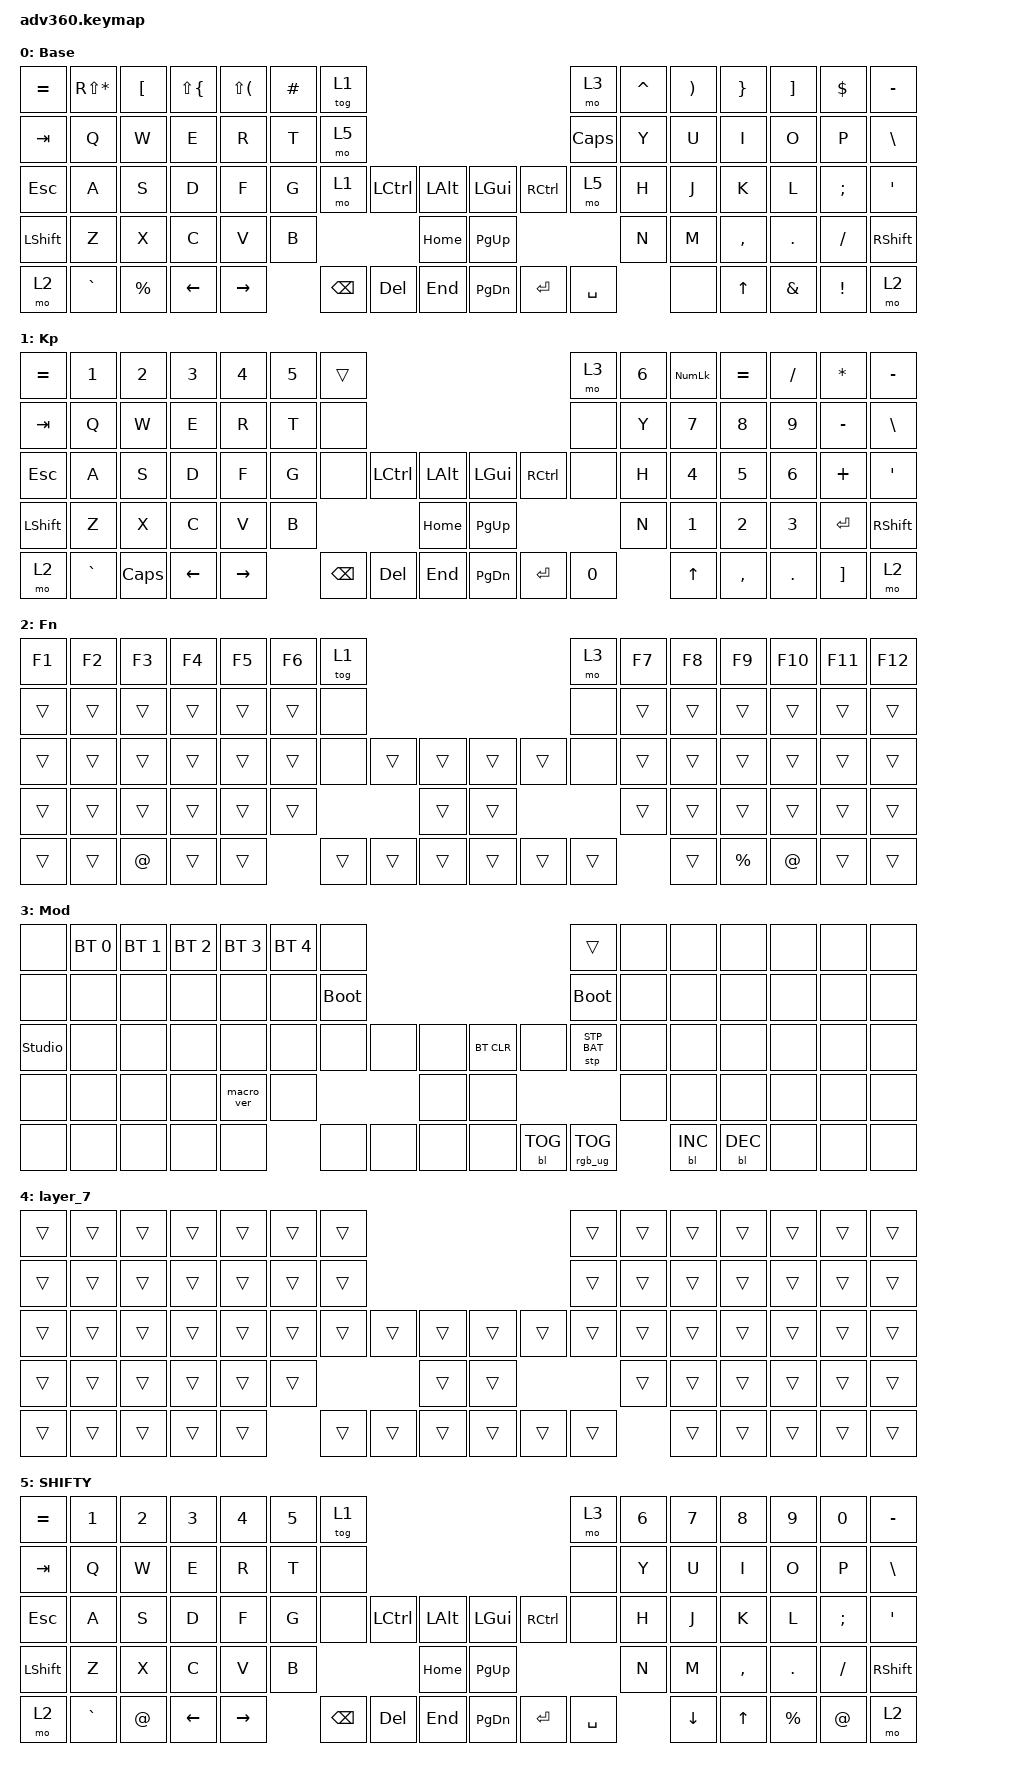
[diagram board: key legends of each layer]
#include <dt-bindings/zmk/stp.h>
#include <behaviors.dtsi>
#include <dt-bindings/zmk/backlight.h>
#include <dt-bindings/zmk/bt.h>
#include <dt-bindings/zmk/keys.h>
#include <dt-bindings/zmk/rgb.h>

/ {
    behaviors {
        #include "macros.dtsi"
      #include "version.dtsi"

        hm: homerow_mods {
            compatible = "zmk,behavior-hold-tap";
            label = "HOMEROW_MODS";
            #binding-cells = <2>;
            tapping-term-ms = <200>;
            quick_tap_ms = <175>;
            flavor = "tap-preferred";
            bindings = <&kp>, <&kp>;
        };
    };

    combos {
        compatible = "zmk,combos";

        at {
            bindings = <&kp AT_SIGN>;
            key-positions = <59 62>;
        };

        at_right {
            bindings = <&kp AT_SIGN>;
            key-positions = <59 74>;
        };

        percent {
            bindings = <&kp PERCENT>;
            key-positions = <59 73>;
        };

        one {
            bindings = <&kp NUMBER_1>;
            key-positions = <59 1>;
        };

        two {
            bindings = <&kp NUMBER_2>;
            key-positions = <59 2>;
        };

        three {
            bindings = <&kp NUMBER_3>;
            key-positions = <59 3>;
        };

        four {
            bindings = <&kp NUMBER_4>;
            key-positions = <59 4>;
        };

        five {
            bindings = <&kp N5>;
            key-positions = <59 5>;
        };

        six {
            bindings = <&kp NUMBER_6>;
            key-positions = <46 8>;
        };

        seven {
            bindings = <&kp N7>;
            key-positions = <46 9>;
        };

        eight {
            bindings = <&kp N8>;
            key-positions = <46 10>;
        };

        nine {
            bindings = <&kp N9>;
            key-positions = <46 11>;
        };

        zero {
            bindings = <&kp N0>;
            key-positions = <46 12>;
        };
    };

    keymap {
        compatible = "zmk,keymap";

        default_layer {
            display-name = "Base";
            bindings = <
&kp EQUAL       &kp RS(ASTERISK)  &kp LEFT_BRACKET  &kp LS(LEFT_BRACE)  &kp LS(LEFT_PARENTHESIS)  &kp HASH  &tog 1                                                   &mo 3         &kp CARET  &kp RIGHT_PARENTHESIS  &kp RIGHT_BRACE  &kp RIGHT_BRACKET  &kp DOLLAR       &kp MINUS
&kp TAB         &kp Q             &kp W             &kp E               &kp R                     &kp T     &mo 5                                                    &kp CAPSLOCK  &kp Y      &kp U                  &kp I            &kp O              &kp P            &kp BSLH
&kp ESC         &kp A             &kp S             &kp D               &kp F                     &kp G     &mo 1     &kp LCTRL  &kp LALT      &kp LGUI   &kp RCTRL  &mo 5         &kp H      &kp J                  &kp K            &kp L              &kp SEMI         &kp SQT
&kp LEFT_SHIFT  &kp Z             &kp X             &kp C               &kp V                     &kp B                          &kp HOME      &kp PG_UP                           &kp N      &kp M                  &kp COMMA        &kp DOT            &kp FSLH         &kp RIGHT_SHIFT
&mo 2           &kp GRAVE         &kp PERCENT       &kp LEFT            &kp RIGHT                           &kp BSPC  &kp DEL    &kp END       &kp PG_DN  &kp ENTER  &kp SPACE                &none                  &kp UP_ARROW     &kp AMPERSAND      &kp EXCLAMATION  &mo 2
            >;
        };

        keypad {
            display-name = "Kp";
            bindings = <
&kp EQUAL  &kp N1     &kp N2    &kp N3    &kp N4     &kp N5  &trans                                                   &mo 3         &kp N6  &kp KP_NUM    &kp EQUAL     &kp SLASH     &kp ASTRK  &kp MINUS
&kp TAB    &kp Q      &kp W     &kp E     &kp R      &kp T   &none                                                    &none         &kp Y   &kp N7        &kp N8        &kp N9        &kp MINUS  &kp BSLH
&kp ESC    &kp A      &kp S     &kp D     &kp F      &kp G   &none     &kp LCTRL  &kp LALT      &kp LGUI   &kp RCTRL  &none         &kp H   &kp NUMBER_4  &kp N5        &kp NUMBER_6  &kp PLUS   &kp SQT
&kp LSHFT  &kp Z      &kp X     &kp C     &kp V      &kp B                        &kp HOME      &kp PG_UP                           &kp N   &kp NUMBER_1  &kp NUMBER_2  &kp NUMBER_3  &kp ENTER  &kp RSHFT
&mo 2      &kp GRAVE  &kp CAPS  &kp LEFT  &kp RIGHT          &kp BSPC  &kp DEL    &kp END       &kp PG_DN  &kp ENTER  &kp NUMBER_0          &kp UP        &kp COMMA     &kp PERIOD    &kp RBKT   &mo 2
            >;
        };

        fn {
            display-name = "Fn";
            bindings = <
&kp F1  &kp F2  &kp F3       &kp F4  &kp F5  &kp F6  &tog 1                                      &mo 3   &kp F7  &kp F8  &kp F9       &kp F10      &kp F11  &kp F12
&trans  &trans  &trans       &trans  &trans  &trans  &none                                       &none   &trans  &trans  &trans       &trans       &trans   &trans
&trans  &trans  &trans       &trans  &trans  &trans  &none   &trans  &trans      &trans  &trans  &none   &trans  &trans  &trans       &trans       &trans   &trans
&trans  &trans  &trans       &trans  &trans  &trans                  &trans      &trans                  &trans  &trans  &trans       &trans       &trans   &trans
&trans  &trans  &kp AT_SIGN  &trans  &trans          &trans  &trans  &trans      &trans  &trans  &trans          &trans  &kp PERCENT  &kp AT_SIGN  &trans   &trans
            >;
        };

        mod {
            display-name = "Mod";
            bindings = <
&none           &bt BT_SEL 0  &bt BT_SEL 1  &bt BT_SEL 2  &bt BT_SEL 3  &bt BT_SEL 4  &none                                                  &trans           &none  &none       &none       &none  &none  &none
&none           &none         &none         &none         &none         &none         &bootloader                                            &bootloader      &none  &none       &none       &none  &none  &none
&studio_unlock  &none         &none         &none         &none         &none         &none        &none  &none      &bt BT_CLR  &none       &stp STP_BAT     &none  &none       &none       &none  &none  &none
&none           &none         &none         &none         &macro_ver    &none                             &none      &none                                    &none  &none       &none       &none  &none  &none
&none           &none         &none         &none         &none                       &none        &none  &none      &none       &bl BL_TOG  &rgb_ug RGB_TOG         &bl BL_INC  &bl BL_DEC  &none  &none  &none
            >;
        };

        layer_7 {
            bindings = <
&trans  &trans  &trans  &trans  &trans  &trans  &trans                                      &trans  &trans  &trans  &trans  &trans  &trans  &trans
&trans  &trans  &trans  &trans  &trans  &trans  &trans                                      &trans  &trans  &trans  &trans  &trans  &trans  &trans
&trans  &trans  &trans  &trans  &trans  &trans  &trans  &trans  &trans      &trans  &trans  &trans  &trans  &trans  &trans  &trans  &trans  &trans
&trans  &trans  &trans  &trans  &trans  &trans                  &trans      &trans                  &trans  &trans  &trans  &trans  &trans  &trans
&trans  &trans  &trans  &trans  &trans          &trans  &trans  &trans      &trans  &trans  &trans          &trans  &trans  &trans  &trans  &trans
            >;
        };

        shift {
            display-name = "SHIFTY";
            bindings = <
&kp EQUAL  &kp NUMBER_1  &kp NUMBER_2  &kp NUMBER_3  &kp NUMBER_4  &kp N5  &tog 1                                                   &mo 3      &kp NUMBER_6  &kp N7    &kp N8        &kp N9       &kp N0       &kp MINUS
&kp TAB    &kp Q         &kp W         &kp E         &kp R         &kp T   &none                                                    &none      &kp Y         &kp U     &kp I         &kp O        &kp P        &kp BSLH
&kp ESC    &kp A         &kp S         &kp D         &kp F         &kp G   &none     &kp LCTRL  &kp LALT      &kp LGUI   &kp RCTRL  &none      &kp H         &kp J     &kp K         &kp L        &kp SEMI     &kp SQT
&kp LSHFT  &kp Z         &kp X         &kp C         &kp V         &kp B                        &kp HOME      &kp PG_UP                        &kp N         &kp M     &kp COMMA     &kp DOT      &kp FSLH     &kp RSHFT
&mo 2      &kp GRAVE     &kp AT_SIGN   &kp LEFT      &kp RIGHT             &kp BSPC  &kp DEL    &kp END       &kp PG_DN  &kp ENTER  &kp SPACE                &kp DOWN  &kp UP_ARROW  &kp PERCENT  &kp AT_SIGN  &mo 2
            >;
        };
    };
};
